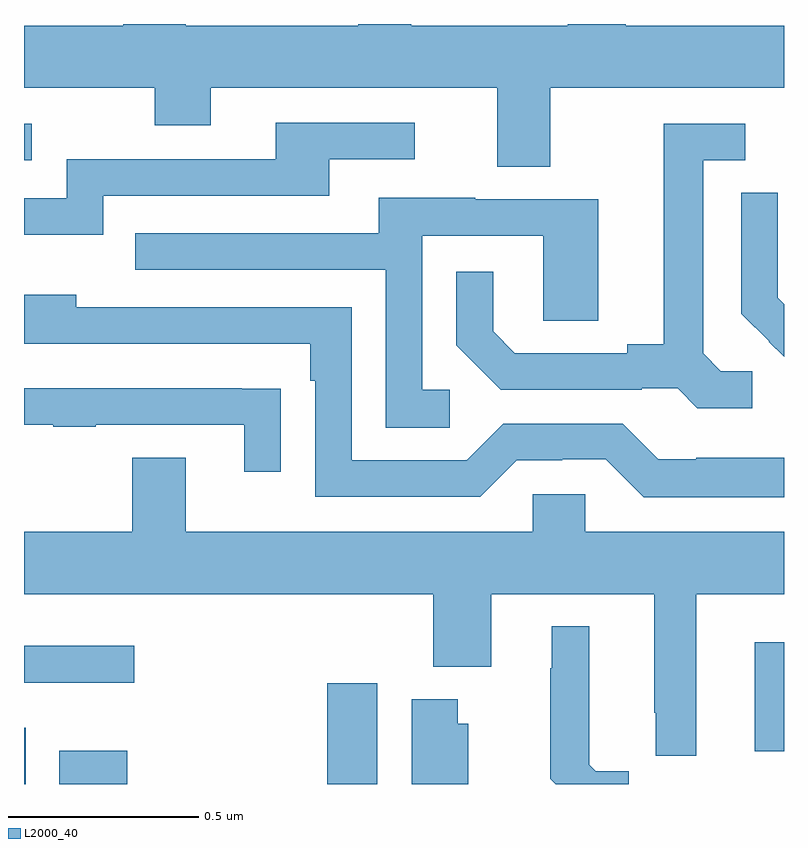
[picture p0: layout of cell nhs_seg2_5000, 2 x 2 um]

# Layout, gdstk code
import gdstk
lib = gdstk.Library(unit=1e-6, precision=1e-09)
def R(c, l, rs):  # rectangles x0, y0, x1, y1
    for r in rs: c.add(gdstk.rectangle(r[:2], r[2:], *l))
def P(c, l, *ps):  # polygons
    for p in ps: c.add(gdstk.Polygon(p, *l))
L2000_40 = (2000, 40)

nhs_seg2_5000 = lib.new_cell('nhs_seg2_5000')
R(nhs_seg2_5000, L2000_40, [(173,649.8,173.005,649.948), (173.093,649.8,173.272,649.888), (173.798,649.8,173.929,650.065), (174.923,649.886,175,650.173), (173,650.067,173.29,650.164), (173,651.441,173.02,651.537)])
P(nhs_seg2_5000, L2000_40, [(174.385,651.632),(175,651.632),(175,651.796),(174.584,651.796),(174.584,651.8),(174.431,651.8),(174.431,651.796),(174.019,651.796),(174.019,651.8),(173.879,651.8),(173.879,651.796),(173.425,651.796),(173.425,651.8),(173.261,651.8),(173.261,651.796),(173,651.796),(173,651.632),(173.344,651.632),(173.344,651.533),(173.491,651.533),(173.491,651.632),(174.245,651.632),(174.245,651.424),(174.385,651.424)],
  [(173.208,651.348),(173.803,651.348),(173.803,651.444),(174.028,651.444),(174.028,651.54),(173.663,651.54),(173.663,651.444),(173.112,651.444),(173.112,651.342),(173,651.342),(173,651.245),(173.208,651.245)],
  [(174.916,650.886),(174.834,650.886),(174.787,650.933),(174.787,651.441),(174.898,651.441),(174.898,651.537),(174.683,651.537),(174.683,650.957),(174.587,650.957),(174.587,650.934),(174.292,650.934),(174.235,650.991),(174.235,651.148),(174.138,651.148),(174.138,650.954),(174.254,650.838),(174.626,650.838),(174.626,650.841),(174.72,650.841),(174.772,650.789),(174.916,650.789)],
  [(175,651.063),(174.983,651.08),(174.983,651.202),(174.984,651.202),(174.984,651.356),(174.888,651.356),(174.888,651.038),(174.961,650.965),(174.96,650.964),(175,650.924)],
  [(174.121,650.838),(174.048,650.838),(174.048,651.243),(174.366,651.243),(174.366,651.019),(174.511,651.019),(174.511,651.339),(174.187,651.339),(174.187,651.343),(173.933,651.343),(173.933,651.249),(173.293,651.249),(173.293,651.153),(173.952,651.153),(173.952,650.737),(174.121,650.737)],
  [(175,650.659),(174.769,650.659),(174.769,650.655),(174.669,650.655),(174.576,650.748),(174.261,650.748),(174.165,650.652),(173.862,650.652),(173.862,651.054),(173.138,651.054),(173.138,651.088),(173,651.088),(173,650.958),(173.753,650.958),(173.753,650.861),(173.766,650.861),(173.766,650.556),(174.201,650.556),(174.297,650.652),(174.416,650.652),(174.416,650.655),(174.531,650.655),(174.631,650.555),(175,650.555)],
  [(173.675,650.84),(173.573,650.84),(173.573,650.841),(173,650.841),(173,650.745),(173.077,650.745),(173.077,650.74),(173.189,650.74),(173.189,650.745),(173.579,650.745),(173.579,650.622),(173.675,650.622)],
  [(174.769,650.3),(175,650.3),(175,650.464),(174.477,650.464),(174.477,650.562),(174.339,650.562),(174.339,650.464),(173.425,650.464),(173.425,650.659),(173.285,650.659),(173.285,650.464),(173,650.464),(173,650.3),(174.077,650.3),(174.077,650.108),(174.229,650.108),(174.229,650.3),(174.659,650.3),(174.659,649.987),(174.663,649.987),(174.663,649.875),(174.769,649.875)],
  [(174.592,649.833),(174.504,649.833),(174.487,649.851),(174.487,650.215),(174.389,650.215),(174.389,650.105),(174.385,650.105),(174.385,649.814),(174.399,649.8),(174.592,649.8)],
  [(174.169,649.959),(174.142,649.959),(174.142,650.023),(174.02,650.023),(174.02,649.8),(174.169,649.8)])

lib.write_gds('nhs_seg2_5000.gds')
